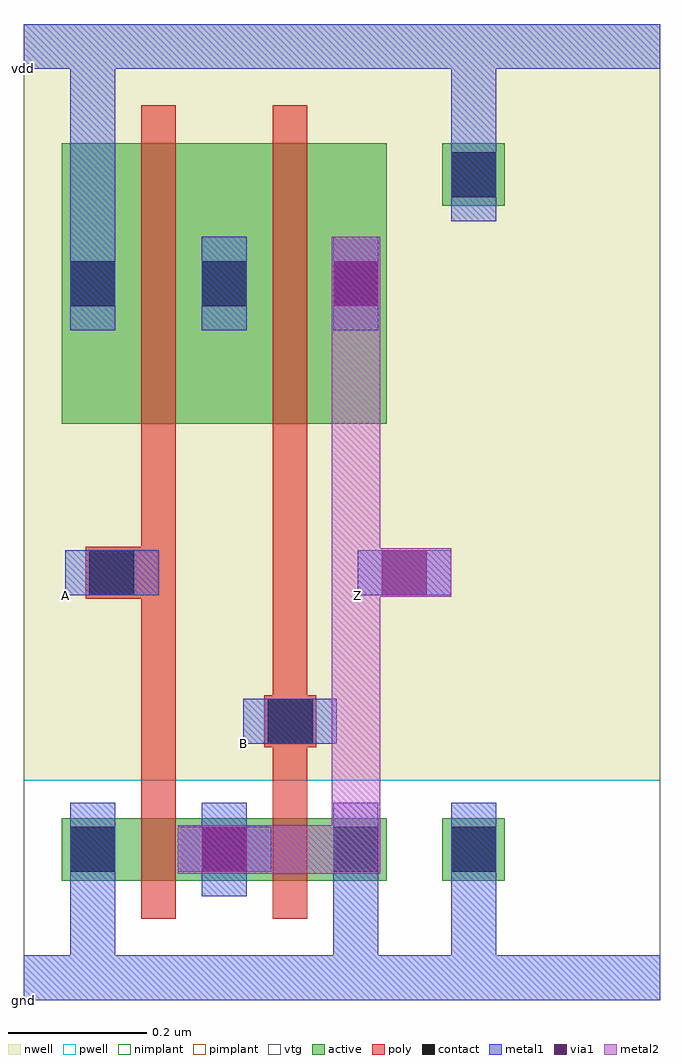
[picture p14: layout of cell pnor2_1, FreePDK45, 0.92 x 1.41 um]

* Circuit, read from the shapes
.subckt pnor2_1 A B Z gnd vdd
M1 Z A gnd gnd nfet w=0.09u l=0.05u
M2 gnd B Z gnd nfet w=0.09u l=0.05u
M3 pmos_m1_w0_405_a_p_0/D A vdd vdd pfet w=0.405u l=0.05u
M4 Z B pmos_m1_w0_405_a_p_0/D vdd pfet w=0.405u l=0.05u
.ends

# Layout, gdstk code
from math import pi, radians
import gdstk
lib = gdstk.Library(unit=1e-6, precision=5e-10)
def R(c, l, rs):  # rectangles x0, y0, x1, y1
    for r in rs: c.add(gdstk.rectangle(r[:2], r[2:], *l))
active = (1, 0)
pwell = (2, 0)
nwell = (3, 0)
nimplant = (4, 0)
pimplant = (5, 0)
vtg = (6, 0)
poly = (9, 0)
contact = (10, 0)
metal1 = (11, 0)
via1 = (12, 0)
metal2 = (13, 0)

active_contact_metal1_1x = lib.new_cell('active_contact_metal1_1x1_pn')
R(active_contact_metal1_1x, active, [(0,0.0225,0.09,0.1125), (0,0.0225,0.09,0.1125)])
R(active_contact_metal1_1x, nwell, [(-0.055,-0.0325,0.145,0.1675), (-0.055,-0.0325,0.145,0.1675)])
R(active_contact_metal1_1x, pimplant, [(0,0.0225,0.09,0.1125), (0,0.0225,0.09,0.1125)])
R(active_contact_metal1_1x, contact, [(0.0125,0.035,0.0775,0.1), (0.0125,0.035,0.0775,0.1)])
R(active_contact_metal1_1x, metal1, [(0.0125,0,0.0775,0.135), (0.0125,0,0.0775,0.135)])

pmos_m1_w0_405_a_p = lib.new_cell('pmos_m1_w0_405_a_p')
R(pmos_m1_w0_405_a_p, active, [(0,0,0.28,0.405)])
R(pmos_m1_w0_405_a_p, nwell, [(-0.055,-0.055,0.335,0.46)])
R(pmos_m1_w0_405_a_p, pimplant, [(0,0,0.28,0.405)])
R(pmos_m1_w0_405_a_p, vtg, [(-0.055,-0.055,0.335,0.46)])
R(pmos_m1_w0_405_a_p, poly, [(0.115,-0.055,0.165,0.46), (0.115,-0.055,0.165,0.46)])
R(pmos_m1_w0_405_a_p, metal1, [(0.0125,0.135,0.0775,0.27), (0.2025,0.135,0.2675,0.27)])
pmos_m1_w0_405_a_p.add(gdstk.Reference(active_contact_metal1_1x, (0,0.135)))
pmos_m1_w0_405_a_p.add(gdstk.Reference(active_contact_metal1_1x, (0.19,0.135)))
pmos_m1_w0_405_a_p.add(gdstk.Label('S', (0.0125,0.135), layer=11, texttype=0))
pmos_m1_w0_405_a_p.add(gdstk.Label('D', (0.2025,0.135), layer=11, texttype=0))
pmos_m1_w0_405_a_p.add(gdstk.Label('G', (0.115,-0.055), layer=9, texttype=0))

c_active_contact_metal1_1x = lib.new_cell('active_contact_metal1_1x1_np')
R(c_active_contact_metal1_1x, active, [(0,0.0225,0.09,0.1125)])
R(c_active_contact_metal1_1x, pwell, [(-0.055,-0.0325,0.145,0.1675)])
R(c_active_contact_metal1_1x, nimplant, [(0,0.0225,0.09,0.1125)])
R(c_active_contact_metal1_1x, contact, [(0.0125,0.035,0.0775,0.1)])
R(c_active_contact_metal1_1x, metal1, [(0.0125,0,0.0775,0.135)])

nmos_m1_w0_09_a_p = lib.new_cell('nmos_m1_w0_09_a_p')
R(nmos_m1_w0_09_a_p, active, [(0,0,0.28,0.09), (0,0,0.28,0.09)])
R(nmos_m1_w0_09_a_p, pwell, [(-0.055,-0.055,0.335,0.145), (-0.055,-0.055,0.335,0.145)])
R(nmos_m1_w0_09_a_p, nimplant, [(0,0,0.28,0.09), (0,0,0.28,0.09)])
R(nmos_m1_w0_09_a_p, vtg, [(-0.055,-0.055,0.335,0.145), (-0.055,-0.055,0.335,0.145)])
R(nmos_m1_w0_09_a_p, poly, [(0.115,-0.055,0.165,0.145), (0.115,-0.055,0.165,0.145), (0.115,-0.055,0.165,0.145), (0.115,-0.055,0.165,0.145)])
R(nmos_m1_w0_09_a_p, metal1, [(0.0125,-0.0225,0.0775,0.1125), (0.0125,-0.0225,0.0775,0.1125), (0.2025,-0.0225,0.2675,0.1125), (0.2025,-0.0225,0.2675,0.1125)])
nmos_m1_w0_09_a_p.add(gdstk.Reference(c_active_contact_metal1_1x, (0,-0.0225)))
nmos_m1_w0_09_a_p.add(gdstk.Reference(c_active_contact_metal1_1x, (0.19,-0.0225)))
nmos_m1_w0_09_a_p.add(gdstk.Reference(c_active_contact_metal1_1x, (0,-0.0225)))
nmos_m1_w0_09_a_p.add(gdstk.Reference(c_active_contact_metal1_1x, (0.19,-0.0225)))
nmos_m1_w0_09_a_p.add(gdstk.Label('S', (0.0125,-0.0225), layer=11, texttype=0))
nmos_m1_w0_09_a_p.add(gdstk.Label('D', (0.2025,-0.0225), layer=11, texttype=0))
nmos_m1_w0_09_a_p.add(gdstk.Label('G', (0.115,-0.055), layer=9, texttype=0))
nmos_m1_w0_09_a_p.add(gdstk.Label('S', (0.0125,-0.0225), layer=11, texttype=0))
nmos_m1_w0_09_a_p.add(gdstk.Label('D', (0.2025,-0.0225), layer=11, texttype=0))
nmos_m1_w0_09_a_p.add(gdstk.Label('G', (0.115,-0.055), layer=9, texttype=0))

c_active_contact_metal1_1x_ = lib.new_cell('active_contact_metal1_1x1_nn')
R(c_active_contact_metal1_1x_, active, [(0,0.0225,0.09,0.1125), (0,0.0225,0.09,0.1125)])
R(c_active_contact_metal1_1x_, nwell, [(-0.055,-0.0325,0.145,0.1675), (-0.055,-0.0325,0.145,0.1675)])
R(c_active_contact_metal1_1x_, nimplant, [(0,0.0225,0.09,0.1125), (0,0.0225,0.09,0.1125)])
R(c_active_contact_metal1_1x_, contact, [(0.0125,0.035,0.0775,0.1), (0.0125,0.035,0.0775,0.1)])
R(c_active_contact_metal1_1x_, metal1, [(0.0125,0,0.0775,0.135), (0.0125,0,0.0775,0.135)])

c_active_contact_metal1_1x__ = lib.new_cell('active_contact_metal1_1x1_pp')
R(c_active_contact_metal1_1x__, active, [(0,0.0225,0.09,0.1125)])
R(c_active_contact_metal1_1x__, pwell, [(-0.055,-0.0325,0.145,0.1675)])
R(c_active_contact_metal1_1x__, pimplant, [(0,0.0225,0.09,0.1125)])
R(c_active_contact_metal1_1x__, contact, [(0.0125,0.035,0.0775,0.1)])
R(c_active_contact_metal1_1x__, metal1, [(0.0125,0,0.0775,0.135)])

poly_contact_metal1_1x1 = lib.new_cell('poly_contact_metal1_1x1')
R(poly_contact_metal1_1x1, poly, [(0,0.03,0.075,0.105), (0,0.03,0.075,0.105)])
R(poly_contact_metal1_1x1, contact, [(0.005,0.035,0.07,0.1), (0.005,0.035,0.07,0.1)])
R(poly_contact_metal1_1x1, metal1, [(0.005,0,0.07,0.135), (0.005,0,0.07,0.135)])

metal1_via1_metal2_1x1 = lib.new_cell('metal1_via1_metal2_1x1')
R(metal1_via1_metal2_1x1, metal1, [(0.0025,0,0.0675,0.135), (0.0025,0,0.0675,0.135)])
R(metal1_via1_metal2_1x1, via1, [(0.0025,0.035,0.0675,0.1), (0.0025,0.035,0.0675,0.1)])
R(metal1_via1_metal2_1x1, metal2, [(0,0,0.07,0.135), (0,0,0.07,0.135)])

pnor2_1 = lib.new_cell('pnor2_1')
R(pnor2_1, pwell, [(0,-0.0325,0.92,0.285)])
R(pnor2_1, nwell, [(0,0.285,0.92,1.3775)])
R(pnor2_1, vtg, [(0,-0.0325,0.92,0.285), (0,0.285,0.92,1.3775)])
R(pnor2_1, poly, [(0.17,0.085,0.22,0.745), (0.36,0.085,0.41,0.745), (0.36,0.3325,0.385,0.4075), (0.1275,0.5475,0.17,0.6225)])
R(pnor2_1, metal1, [(0,-0.0325,0.92,0.0325), (0.0675,-0.0325,0.1325,0.1175), (0.4475,-0.0325,0.5125,0.1175), (0.6175,0,0.6825,0.185), (0.3175,0.3375,0.4525,0.4025), (0.06,0.5525,0.195,0.6175), (0.4825,0.5525,0.6175,0.6175), (0.0675,0.935,0.1325,1.3775), (0.6175,1.16,0.6825,1.345), (0,1.3125,0.92,1.3775)])
R(pnor2_1, metal2, [(0.3225,0.15,0.48,0.22), (0.445,0.15,0.515,0.22), (0.445,0.185,0.515,0.585), (0.445,0.55,0.515,0.62), (0.48,0.55,0.55,0.62), (0.445,0.585,0.515,0.935)])
pnor2_1.add(gdstk.Reference(pmos_m1_w0_405_a_p, (0.055,0.8)))
pnor2_1.add(gdstk.Reference(pmos_m1_w0_405_a_p, (0.245,0.8)))
pnor2_1.add(gdstk.Reference(nmos_m1_w0_09_a_p, (0.055,0.14)))
pnor2_1.add(gdstk.Reference(nmos_m1_w0_09_a_p, (0.245,0.14)))
pnor2_1.add(gdstk.Reference(c_active_contact_metal1_1x_, (0.605,1.0925)))
pnor2_1.add(gdstk.Reference(c_active_contact_metal1_1x__, (0.605,0.1175)))
pnor2_1.add(gdstk.Reference(poly_contact_metal1_1x1, (0.4525,0.3325), rotation=pi/2))
pnor2_1.add(gdstk.Reference(poly_contact_metal1_1x1, (0.195,0.5475), rotation=pi/2))
pnor2_1.add(gdstk.Reference(metal1_via1_metal2_1x1, (0.445,0.935)))
pnor2_1.add(gdstk.Reference(metal1_via1_metal2_1x1, (0.3575,0.15), rotation=pi/2))
pnor2_1.add(gdstk.Reference(metal1_via1_metal2_1x1, (0.6175,0.55), rotation=pi/2))
pnor2_1.add(gdstk.Label('A', (0.06,0.5525), layer=11, texttype=0))
pnor2_1.add(gdstk.Label('Z', (0.4825,0.5525), layer=11, texttype=0))
pnor2_1.add(gdstk.Label('B', (0.3175,0.3375), layer=11, texttype=0))
pnor2_1.add(gdstk.Label('vdd', (0,1.3125), layer=11, texttype=0))
pnor2_1.add(gdstk.Label('gnd', (0,-0.0325), layer=11, texttype=0))

lib.write_gds('pnor2_1.gds')
